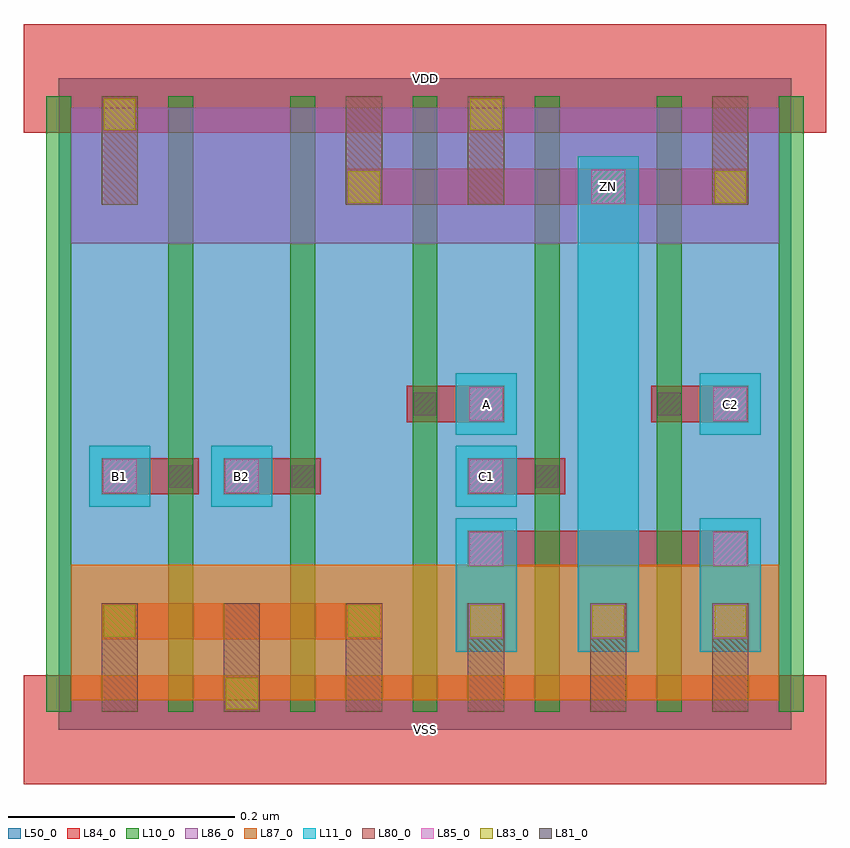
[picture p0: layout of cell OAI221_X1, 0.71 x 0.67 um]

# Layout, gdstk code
import gdstk
lib = gdstk.Library(unit=1e-6, precision=1e-09)
def R(c, l, rs):  # rectangles x0, y0, x1, y1
    for r in rs: c.add(gdstk.rectangle(r[:2], r[2:], *l))
def A(c, l, x, y, w, h, nx, ny, dx, dy):  # array of equal rectangles
    R(c, l, [(x+i*dx, y+j*dy, x+i*dx+w, y+j*dy+h) for i in range(nx) for j in range(ny)])
L10_0 = (10, 0)
L11_0 = (11, 0)
L50_0 = (50, 0)
L80_0 = (80, 0)
L81_0 = (81, 0)
L83_0 = (83, 0)
L84_0 = (84, 0)
L85_0 = (85, 0)
L86_0 = (86, 0)
L87_0 = (87, 0)

oai221_x1 = lib.new_cell('OAI221_X1')
A(oai221_x1, L10_0, -0.011, 0.016, 0.022, 0.544, 7, 1, 0.108, 0)
R(oai221_x1, L11_0, [(0.351,0.069,0.405,0.187), (0.459,0.069,0.513,0.507), (0.567,0.069,0.621,0.187), (0.027,0.197,0.081,0.251), (0.135,0.197,0.189,0.251), (0.351,0.197,0.405,0.251), (0.351,0.261,0.405,0.315), (0.567,0.261,0.621,0.315)])
R(oai221_x1, L50_0, [(0,0,0.648,0.576)])
A(oai221_x1, L80_0, 0.038, 0.016, 0.032, 0.096, 6, 1, 0.108, 0)
R(oai221_x1, L80_0, [(0.038,0.464,0.07,0.56), (0.254,0.464,0.286,0.56), (0.362,0.464,0.394,0.56), (0.578,0.464,0.61,0.56)])
R(oai221_x1, L81_0, [(0.098,0.214,0.118,0.234), (0.206,0.214,0.226,0.234), (0.422,0.214,0.442,0.234), (0.314,0.278,0.334,0.298), (0.53,0.278,0.55,0.298)])
A(oai221_x1, L83_0, 0.256, 0.082, 0.028, 0.028, 4, 1, 0.108, 0)
R(oai221_x1, L83_0, [(0.148,0.018,0.176,0.046), (0.04,0.082,0.068,0.11), (0.256,0.466,0.284,0.494), (0.58,0.466,0.608,0.494), (0.04,0.53,0.068,0.558), (0.364,0.53,0.392,0.558)])
A(oai221_x1, L84_0, 0.362, 0.08, 0.032, 0.032, 3, 1, 0.108, 0)
R(oai221_x1, L84_0, [(-0.031,-0.048,0.679,0.048), (0.038,0.08,0.286,0.112), (0.362,0.144,0.61,0.176), (0.038,0.208,0.124,0.24), (0.146,0.208,0.232,0.24), (0.362,0.208,0.448,0.24), (0.308,0.272,0.394,0.304), (0.524,0.272,0.61,0.304), (0.254,0.464,0.61,0.496), (-0.031,0.528,0.679,0.624)])
A(oai221_x1, L85_0, 0.363, 0.081, 0.03, 0.03, 3, 1, 0.108, 0)
A(oai221_x1, L85_0, 0.363, 0.145, 0.03, 0.03, 1, 3, 0, 0.064)
R(oai221_x1, L85_0, [(0.579,0.145,0.609,0.175), (0.039,0.209,0.069,0.239), (0.147,0.209,0.177,0.239), (0.579,0.273,0.609,0.303), (0.471,0.465,0.501,0.495)])
R(oai221_x1, L86_0, [(0.011,0.43,0.637,0.55)])
R(oai221_x1, L87_0, [(0.011,0.026,0.637,0.146)])
oai221_x1.add(gdstk.Label('VDD', (0.324,0.576), layer=88, texttype=0))
oai221_x1.add(gdstk.Label('VSS', (0.324,0), layer=88, texttype=0))
oai221_x1.add(gdstk.Label('ZN', (0.486,0.48), layer=31, texttype=0))
oai221_x1.add(gdstk.Label('C2', (0.594,0.288), layer=31, texttype=0))
oai221_x1.add(gdstk.Label('B2', (0.162,0.224), layer=31, texttype=0))
oai221_x1.add(gdstk.Label('B1', (0.054,0.224), layer=31, texttype=0))
oai221_x1.add(gdstk.Label('C1', (0.378,0.224), layer=31, texttype=0))
oai221_x1.add(gdstk.Label('A', (0.378,0.288), layer=31, texttype=0))

lib.write_gds('OAI221_X1.gds')
